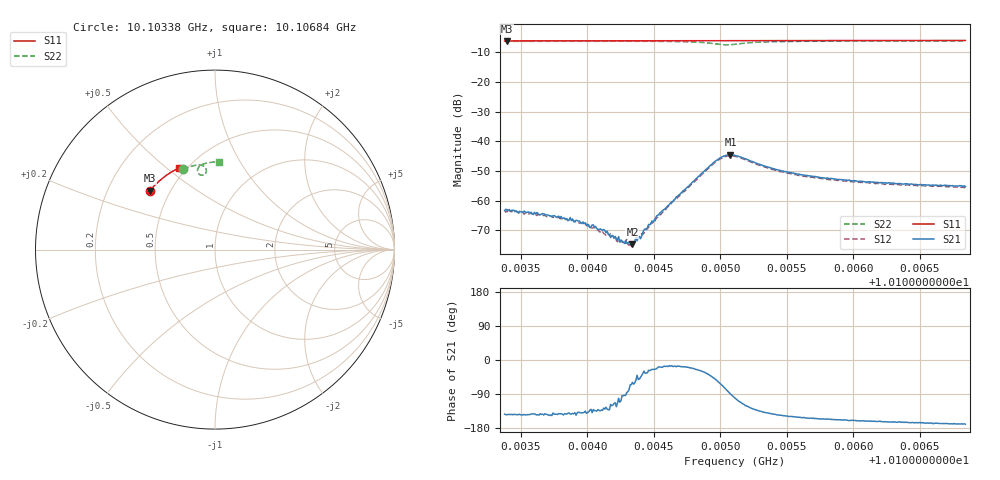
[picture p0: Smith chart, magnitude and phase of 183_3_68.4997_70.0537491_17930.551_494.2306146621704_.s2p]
#  HZ  S  RI  R  50.00
! Rohde & Schwarz Vector Network Analyzer
! Rohde-Schwarz,ZNB20-2Port,1311601062101988,3.16
! Created: UTC 3/20/2024, 5:11:56 PM
! freq[Hz]  re:S11  im:S11  re:S21  im:S21  re:S12  im:S12  re:S22  im:S22
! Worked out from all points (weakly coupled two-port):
!   401 points, 10.10338 GHz to 10.10684 GHz, reference 50 ohm
!   highest |S21| = -44.53 dB at 10.10508 GHz (marker M1); lowest = -74.7 dB at 10.10434 GHz (marker M2)
!   lowest |S11| = -6.2 dB at 10.1034 GHz (marker M3), VSWR 2.91, Z = 19.4 + j16.7 ohm
!   |S11| at or under -10 dB: nowhere
!   |S22| runs from -7.5 to -6.2 dB; largest |S21 - S12| = 0.00063
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1.0103379e10  -0.364 0.3267  -0.000551 -0.000416  -0.000515 -0.000458  -0.1773 0.4474
1.0103396e10  -0.3632 0.3275  -0.000581 -0.000413  -0.000512 -0.000442  -0.1762 0.4478
1.0103769e10  -0.3484 0.3447  -0.000421 -0.000314  -0.000365 -0.000375  -0.1525 0.4574
1.0103959e10  -0.3406 0.3532  -0.000318 -0.000272  -0.000304 -0.000282  -0.1398 0.4617
1.0104011e10  -0.3384 0.3555  -0.000288 -0.000267  -0.000262 -0.000268  -0.1362 0.4628
1.0104115e10  -0.3338 0.36  -0.000215 -0.000232  -0.000189 -0.000235  -0.1289 0.4649
1.0104193e10  -0.3306 0.3633  -0.000125 -0.000224  -0.000105 -0.000231  -0.1231 0.4665
1.010421e10  -0.3299 0.3641  -9.74e-05 -0.000231  -8.99e-05 -0.000235  -0.1219 0.4668
1.0104262e10  -0.3275 0.3664  -1.33e-05 -0.000209  -1.92e-05 -0.0002  -0.1179 0.4678
1.010434e10  -0.3242 0.3696  9.54e-05 -0.000158  9.09e-05 -0.000177  -0.1118 0.469
1.0104349e10  -0.3238 0.37  8.63e-05 -0.000175  0.000101 -0.000154  -0.1111 0.4693
1.0104392e10  -0.322 0.3718  0.00016 -0.000191  0.000189 -0.000162  -0.1076 0.4698
1.0104444e10  -0.3197 0.374  0.000277 -0.000187  0.000296 -0.000142  -0.1032 0.4704
1.0104539e10  -0.3153 0.3779  0.000567 -0.000185  0.000549 -0.000173  -0.0944 0.4714
1.0104954e10  -0.2961 0.3942  0.00297 -0.00335  0.00312 -0.00298  -0.0479 0.4367
1.0105024e10  -0.293 0.3965  0.00186 -0.0053  0.0023 -0.00491  -0.06 0.4177
1.0105076e10  -0.2905 0.3986  5.46e-05 -0.00593  0.000634 -0.00567  -0.0782 0.4148
1.010511e10  -0.2889 0.3998  -0.00107 -0.00569  -0.000495 -0.00556  -0.0885 0.4201
1.0105431e10  -0.2737 0.4118  -0.00272 -0.0019  -0.00241 -0.00207  -0.0791 0.4697
1.010569e10  -0.2608 0.4209  -0.00233 -0.00114  -0.00211 -0.00129  -0.0564 0.4794
1.010627e10  -0.231 0.4395  -0.00192 -0.000577  -0.00175 -0.000716  -0.0138 0.487
1.0106842e10  -0.2004 0.4557  -0.00171 -0.000318  -0.00163 -0.00048  0.0249 0.4886
